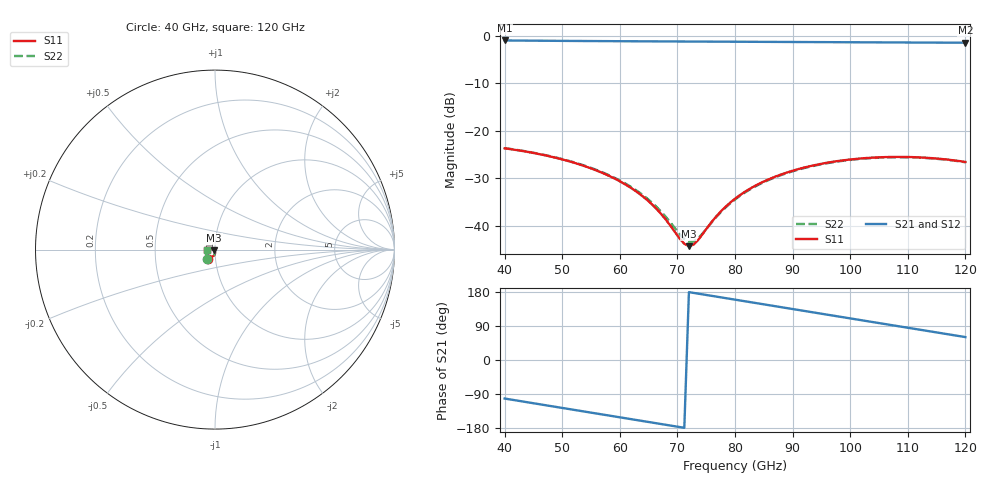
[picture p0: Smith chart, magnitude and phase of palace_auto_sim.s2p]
#  GHZ S DB R 50
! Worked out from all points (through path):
!   101 points, 40 GHz to 120 GHz, reference 50 ohm
!   highest |S21| = -1.00 dB at 40 GHz (marker M1); lowest = -1.5 dB at 120 GHz (marker M2)
!   group delay of S21, straight-line fit = 6.87 ps
!   lowest |S11| = -44.3 dB at 72 GHz (marker M3), VSWR 1.01, Z = 49.5 - j0.384 ohm
!   |S11| at or under -10 dB: start of sweep to end of sweep
!   |S22| runs from -43.4 to -23.7 dB; largest |S21 - S12| = 1.5e-13
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40  -23.70 -129.7  -1.00 -101.7  -1.00 -101.7  -23.66 -129.6
46.4  -25.02 -148.5  -1.06 -117.6  -1.06 -117.6  -24.96 -148.4
53.6  -27.33 -168.1  -1.12 -135.4  -1.12 -135.4  -27.24 -167.8
57.6  -29.21 -177.8  -1.15 -145.3  -1.15 -145.3  -29.07 -177.3
61.6  -31.77 174.3  -1.17 -155.2  -1.17 -155.2  -31.57 174.9
64.8  -34.63 170.7  -1.19 -163.1  -1.19 -163.1  -34.31 171.6
67.2  -37.55 172.2  -1.20 -169.0  -1.20 -169.0  -37.07 173.1
70.4  -42.71 -167.8  -1.22 -177.0  -1.22 -177.0  -41.77 -168.9
71.2  -43.80 -155.6  -1.23 -178.9  -1.23 -178.9  -42.80 -158.5
72  -44.30 -140.5  -1.23 179.1  -1.23 179.1  -43.39 -145.5
72.8  -43.98 -125.1  -1.23 177.1  -1.23 177.1  -43.32 -131.6
73.6  -43.00 -112.3  -1.24 175.1  -1.24 175.1  -42.64 -119.1
76.8  -37.96 -90.5  -1.25 167.2  -1.25 167.2  -38.09 -94.8
80  -34.31 -88.8  -1.27 159.3  -1.27 159.3  -34.48 -91.6
82.4  -32.34 -91.3  -1.28 153.3  -1.28 153.3  -32.50 -93.6
85.6  -30.36 -96.8  -1.30 145.4  -1.30 145.4  -30.50 -98.6
89.6  -28.57 -105.1  -1.32 135.5  -1.32 135.5  -28.69 -106.6
93.6  -27.31 -114.0  -1.35 125.6  -1.35 125.6  -27.41 -115.4
100.8  -25.96 -130.9  -1.39 107.8  -1.39 107.8  -26.04 -132.0
107.2  -25.52 -146.0  -1.42 92.0  -1.42 92.0  -25.60 -147.0
113.6  -25.72 -160.8  -1.45 76.2  -1.45 76.2  -25.79 -161.8
120  -26.58 -175.2  -1.48 60.5  -1.48 60.5  -26.64 -176.1
